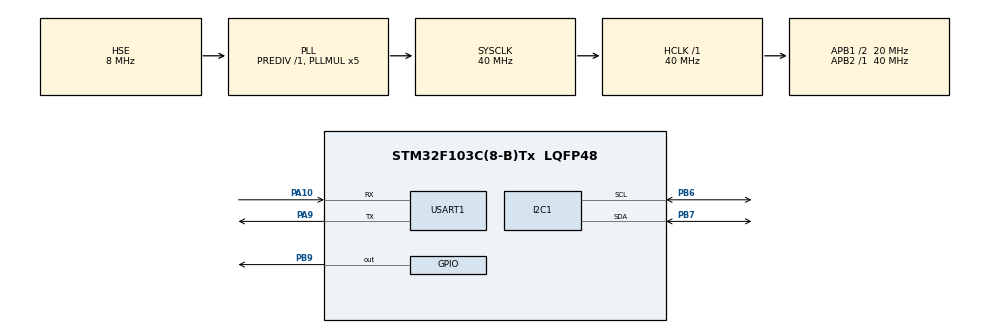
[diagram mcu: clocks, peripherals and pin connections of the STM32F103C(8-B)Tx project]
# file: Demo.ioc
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I2C1.I2C_Mode=I2C_Fast
Mcu.Family=STM32F1
Mcu.Name=STM32F103C(8-B)Tx
Mcu.Package=LQFP48
NVIC.PriorityGroup=NVIC_PRIORITYGROUP_4
NVIC.TIM3_IRQn=true\:1\:0\:true\:false\:true\:true\:true\:true
NVIC.USART1_IRQn=true\:1\:0\:true\:false\:true\:true\:true\:true
PA10.Mode=Asynchronous
PA10.Signal=USART1_RX
PA13.Mode=Serial_Wire
PA13.Signal=SYS_JTMS-SWDIO
PA14.Mode=Serial_Wire
PA14.Signal=SYS_JTCK-SWCLK
PA9.Mode=Asynchronous
PA9.Signal=USART1_TX
PB6.Mode=I2C
PB6.Signal=I2C1_SCL
PB7.Mode=I2C
PB7.Signal=I2C1_SDA
PB9.Signal=GPIO_Output
PD0-OSC_IN.Mode=HSE-External-Oscillator
PD0-OSC_IN.Signal=RCC_OSC_IN
PD1-OSC_OUT.Mode=HSE-External-Oscillator
PD1-OSC_OUT.Signal=RCC_OSC_OUT
ProjectManager.HeapSize=0x200
ProjectManager.StackSize=0x400
ProjectManager.TargetToolchain=STM32CubeIDE
RCC.AHBFreq_Value=40000000
RCC.APB1CLKDivider=RCC_HCLK_DIV2
RCC.APB1Freq_Value=20000000
RCC.APB1TimFreq_Value=40000000
RCC.APB2Freq_Value=40000000
RCC.APB2TimFreq_Value=40000000
RCC.HCLKFreq_Value=40000000
RCC.PLLMUL=RCC_PLL_MUL5
RCC.PLLSourceVirtual=RCC_PLLSOURCE_HSE
RCC.SYSCLKFreq_VALUE=40000000
RCC.SYSCLKSource=RCC_SYSCLKSOURCE_PLLCLK
RCC.USBFreq_Value=40000000
TIM2.Prescaler=39
TIM3.Period=5000-1
TIM3.Prescaler=4000-1
USART1.VirtualMode=VM_ASYNC
VP_TIM2_VS_ClockSourceINT.Mode=Internal
VP_TIM3_VS_ClockSourceINT.Mode=Internal
board=custom

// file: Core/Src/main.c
/* USER CODE BEGIN Header */
/**
  ******************************************************************************
  * @file           : main.c
  * @brief          : Main program body
  ******************************************************************************
  * @attention
  *
  * Copyright (c) 2024 STMicroelectronics.
  * All rights reserved.
  *
  * This software is licensed under terms that can be found in the LICENSE file
  * in the root directory of this software component.
  * If no LICENSE file comes with this software, it is provided AS-IS.
  *
  ******************************************************************************
  */
/* USER CODE END Header */
#include "main.h"

/* USER CODE BEGIN Includes */
#include <stdio.h>
#include <stdint.h>
#include <string.h>
#include <math.h>
/* USER CODE END Includes */

I2C_HandleTypeDef hi2c1;

TIM_HandleTypeDef htim2;
TIM_HandleTypeDef htim3;

UART_HandleTypeDef huart1;

void SystemClock_Config(void);
static void MX_GPIO_Init(void);
static void MX_USART1_UART_Init(void);
static void MX_I2C1_Init(void);
static void MX_TIM2_Init(void);
static void MX_TIM3_Init(void);

/* USER CODE BEGIN 0 */
/* ==========================LCD I2C ==========================*/
#define LCD_ADDR 0x4E
#define ADDRESS_FLASH_TEMPE 0x0800F000
#define ADDRESS_FLASH_HUMID 0x0800F004
#define ADDRESS_FLASH_FLAG  0x0800F008
/* ================= CREATE A DELAY 1us =================== */
void delay_1us(uint16_t time)
{
	__HAL_TIM_SET_COUNTER(&htim2,0);
	while((__HAL_TIM_GET_COUNTER(&htim2)) < time);
}
void LCD_Command(char cmd)
{
	char data_l, data_u;
	uint8_t data_t[4];
	data_u = (cmd&0xf0);
	data_l = ((cmd<<4)&0xf0);
	data_t[0] = data_u|0x0C;  //en=1, rs=0
	data_t[1] = data_u|0x08;  //en=0, rs=0
	data_t[2] = data_l|0x0C;  //en=1, rs=0
	data_t[3] = data_l|0x08;  //en=0, rs=0
	HAL_I2C_Master_Transmit (&hi2c1, LCD_ADDR,(uint8_t *) data_t, 4, 100);
}
void LCD_Data(char data)
{
	char data_l, data_u;
	uint8_t data_t[4];
	data_u = (data&0xf0);
	data_l = ((data<<4)&0xf0);
	data_t[0] = data_u|0x0D;  //en=1, rs=0
	data_t[1] = data_u|0x09;  //en=0, rs=0
	data_t[2] = data_l|0x0D;  //en=1, rs=0
	data_t[3] = data_l|0x09;  //en=0, rs=0
	HAL_I2C_Master_Transmit (&hi2c1, LCD_ADDR,(uint8_t *) data_t, 4, 100);
}
void LCD_Init(void)
{
	// 4 bit initialisation
	delay_1us(50000);  // wait for >40ms
	LCD_Command(0x30);
	delay_1us(5000);  // wait for >4.1ms
	LCD_Command (0x30);
	delay_1us(1000);  // wait for >100us
	LCD_Command (0x30);
	delay_1us(10000);
	LCD_Command (0x20);  // 4bit mode
	delay_1us(10000);

  // dislay initialisation
	LCD_Command (0x28); // Function set --> DL=0 (4 bit mode), N = 1 (2 line display) F = 0 (5x8 characters)
	delay_1us(1000);
	LCD_Command (0x08); //Display on/off control --> D=0,C=0, B=0  ---> display off
	delay_1us(1000);
	LCD_Command (0x01);  // clear display
	delay_1us(1000);
	delay_1us(1000);
	LCD_Command (0x06); //Entry mode set --> I/D = 1 (increment cursor) & S = 0 (no shift)
	delay_1us(1000);
	LCD_Command (0x0C); //Display on/off control --> D = 1, C and B = 0. (Cursor and blink, last two bits)

}
void LCD_GotoXY(uint8_t row, uint8_t col, char data)
{
	unsigned char cmd;
	cmd = (row==1?0x80:0xC0) + col - 1;
	LCD_Command(cmd);
	LCD_Data(data);

}
void LCD_String(char volatile *s)
{
	while(*s)
	{
		LCD_Data(*s);
		s++;
	}
}
void LCD_GotoXY_String(uint8_t row, uint8_t col, volatile char* data)
{
	unsigned char cmd;
	cmd = (row==1?0x80:0xC0) + col - 1;
	LCD_Command(cmd);
	LCD_String(data);

}
uint16_t p=0;
uint8_t humid_eeprom[2],tempe_eeprom[2];
uint8_t humidity_eeprom[2], temperature_eeprom[2];
volatile uint8_t Temperature_byte1, Temperature_byte2, Humidity_byte1, Humidity_byte2, checksum = 0;
volatile uint16_t sum, humidity,temperature = 0;
volatile uint16_t humidity_flash, temperature_flash = 0,flag_timer=0,flag_flash=0;
volatile uint8_t check;
uint8_t txbuffer[7];
char tempe[4];
char humid[4];
char tempe_flash[4];
char humid_flash[4];
volatile char tempe_display[]="Nhiet Do: ";
volatile char humid_display[]="Do Am: ";
/* =================== Declare EEPROM AT24C256 ================== */

// EEPROM ADDRESS (8bits)
#define EEPROM_ADDR 0xA0

// Define the Page Size and number of pages
#define PAGE_SIZE 64     // in Bytes
#define PAGE_NUM  512    // number of pages
uint16_t bytestowrite(uint16_t size, uint16_t offset)
{
	if((size+offset)<PAGE_SIZE) return size;
	else return PAGE_SIZE - offset;
}
void EEPROM_Write (uint16_t page, uint16_t offset, uint8_t *data, uint16_t size)
{

	// Find out the number of bit, where the page addressing starts
	int paddrposition = log(PAGE_SIZE)/log(2);

	// calculate the start page and the end page
	uint16_t startPage = page;
	uint16_t endPage = page + ((size+offset)/PAGE_SIZE);

	// number of pages to be written
	uint16_t numofpages = (endPage-startPage) + 1;
	uint16_t pos=0;

	// write the data
	for (int i=0; i<numofpages; i++)
	{
		/* calculate the address of the memory location
		 * Here we add the page address with the byte address
		 */
		uint16_t MemAddress = startPage<<paddrposition | offset;
		uint16_t bytesremaining = bytestowrite(size, offset);  // calculate the remaining bytes to be written

		HAL_I2C_Mem_Write(&hi2c1, EEPROM_ADDR, MemAddress, 2, &data[pos], bytesremaining, 1000);  // write the data to the EEPROM
		//HAL_I2C_Mem_Write(&hi2c1, DevAddress, MemAddress, MemAddSize, pData, Size, Timeout)

		startPage += 1;  // increment the page, so that a new page address can be selected for further write
		offset=0;   // since we will be writing to a new page, so offset will be 0
		size = size-bytesremaining;  // reduce the size of the bytes
		pos += bytesremaining;  // update the position for the data buffer

		delay_1us(5000);  // Write cycle delay (5ms)
	}
}
void Int2String1(uint16_t data, uint8_t *s)
{
	s[0]=data/10 +48;
	s[1]=data%10 +48;
}
void EEPROM_Read (uint16_t page, uint16_t offset, uint8_t *data, uint16_t size)
{
	int paddrposition = log(PAGE_SIZE)/log(2);

	uint16_t startPage = page;
	uint16_t endPage = page + ((size+offset)/PAGE_SIZE);

	uint16_t numofpages = (endPage-startPage) + 1;
	uint16_t pos=0;

	for (int i=0; i<numofpages; i++)
	{
		uint16_t MemAddress = startPage<<paddrposition | offset;
		uint16_t bytesremaining = bytestowrite(size, offset);
		HAL_I2C_Mem_Read(&hi2c1, EEPROM_ADDR, MemAddress, 2, &data[pos], bytesremaining, 1000);
		startPage += 1;
		offset=0;
		size = size-bytesremaining;
		pos += bytesremaining;
	}
}
void EEPROM_PageErase (uint16_t page)
{
	// calculate the memory address based on the page number
	int paddrposition = log(PAGE_SIZE)/log(2);
	uint16_t MemAddress = page<<paddrposition;

	// create a buffer to store the reset values
	uint8_t data[PAGE_SIZE];
	memset(data,0xff,PAGE_SIZE);

	// write the data to the EEPROM
	HAL_I2C_Mem_Write(&hi2c1, EEPROM_ADDR, MemAddress, 2, data, PAGE_SIZE, 1000);

	delay_1us(5000);  // write cycle delay
}
void Flash_Erase(uint32_t address)
{
	HAL_FLASH_Unlock();
	FLASH_EraseInitTypeDef EraseInitStruct;
	EraseInitStruct.Banks = 1;
	EraseInitStruct.NbPages = 1;
	EraseInitStruct.PageAddress = address;
	EraseInitStruct.TypeErase = FLASH_TYPEERASE_PAGES;
	uint32_t err;
	HAL_FLASHEx_Erase(&EraseInitStruct, &err);
	HAL_FLASH_Lock();
}
void Flash_WriteData(uint32_t address, int value)
{
	HAL_FLASH_Unlock();
	HAL_FLASH_Program(FLASH_TYPEPROGRAM_HALFWORD,address,value);
	HAL_FLASH_Lock();
}
int Flash_ReadData(uint32_t address)
{
	return *(__IO uint16_t *)(address);
}
void Int2String(uint16_t data, volatile char *s)
{
	s[0] = data/10 + 48;
	s[1] = data%10 + 48;
}
void Set_Pin_Output(GPIO_TypeDef *GPIOx,uint16_t GPIO_PIN)
{
	 /*Configure GPIO pin : OUTPUT */
	  GPIO_InitTypeDef GPIO_InitStruct = {0};
	  GPIO_InitStruct.Pin = GPIO_PIN;
	  GPIO_InitStruct.Mode = GPIO_MODE_OUTPUT_PP;
	  GPIO_InitStruct.Pull = GPIO_NOPULL;
	  GPIO_InitStruct.Speed = GPIO_SPEED_FREQ_LOW;
	  HAL_GPIO_Init(GPIOB, &GPIO_InitStruct);
}
void Set_Pin_Input(GPIO_TypeDef *GPIOx,uint16_t GPIO_PIN)
{
	 /*Configure GPIO pin : INPUT */
	  GPIO_InitTypeDef GPIO_InitStruct = {0};
	  GPIO_InitStruct.Pin = GPIO_PIN;
	  GPIO_InitStruct.Mode = GPIO_MODE_INPUT;
	  GPIO_InitStruct.Pull = GPIO_PULLUP;
	  GPIO_InitStruct.Speed = GPIO_SPEED_FREQ_LOW;
	  HAL_GPIO_Init(GPIOB, &GPIO_InitStruct);
}
/* ======================== DHT11 ========================== */
#define DHT11_PORT GPIOB
#define DHT11_PIN GPIO_PIN_9
void DHT11_Init(void)
{
	Set_Pin_Output(DHT11_PORT, DHT11_PIN);
	HAL_GPIO_WritePin(DHT11_PORT,DHT11_PIN,0);
	delay_1us(18000);
	HAL_GPIO_WritePin(DHT11_PORT,DHT11_PIN,1);
	delay_1us(20);
	Set_Pin_Input(DHT11_PORT, DHT11_PIN);
}
uint8_t DHT11_Check(void)
{
	uint8_t response = 0;
	delay_1us(40);
	if (!(HAL_GPIO_ReadPin(DHT11_PORT, DHT11_PIN)))
	{
		delay_1us(80);
		if ((HAL_GPIO_ReadPin(DHT11_PORT, DHT11_PIN))) response = 1;
		else response = -1;
	}
	while ((HAL_GPIO_ReadPin(DHT11_PORT, DHT11_PIN)));   // wait for the pin to go low

	return response;
}

uint8_t DHT11_Read(void)
{
	uint8_t i,j;
	for (j=0;j<8;j++)
	{
		while (!(HAL_GPIO_ReadPin (DHT11_PORT, DHT11_PIN)));   // wait for the pin to go high
		delay_1us(40);   // wait for 40 us
		if (!(HAL_GPIO_ReadPin (DHT11_PORT, DHT11_PIN)))   // if the pin is low
		{
			i&= ~(1<<(7-j));   // write 0
		}
		else i|= (1<<(7-j));  // if the pin is high, write 1
		while ((HAL_GPIO_ReadPin (DHT11_PORT, DHT11_PIN)));  // wait for the pin to go low
	}
	return i;
}
void HAL_TIM_PeriodElapsedCallback(TIM_HandleTypeDef *htim)
{
 if(htim->Instance == htim3.Instance)
 {
	  DHT11_Init();
	  check = DHT11_Check();
	  Humidity_byte1 = DHT11_Read();
	  Humidity_byte2 = DHT11_Read();
	  Temperature_byte1 = DHT11_Read();
	  Temperature_byte2 = DHT11_Read();
	  checksum = DHT11_Read();

	  humidity = Humidity_byte1;
	  temperature = Temperature_byte1;

	  Int2String(humidity, humid);
	  LCD_GotoXY_String(2, 7, humid);
	  Int2String(temperature, tempe);
	  LCD_GotoXY_String(1, 10, tempe);

	  Int2String1(humidity,tempe_eeprom);
	  Int2String1(temperature,humid_eeprom);
	  EEPROM_PageErase(10);
	  EEPROM_Write(10, 0, tempe_eeprom, 2);
	  EEPROM_Write(10, 10, humid_eeprom, 2);

	  /* Convert temperature and humidity data to transmit through UART */
	  txbuffer[0] = temperature/10+48;
	  txbuffer[1] = temperature%10+48;
	  txbuffer[2] = '/';
	  txbuffer[3] = humidity/10+48;
	  txbuffer[4] = humidity%10+48;
	  txbuffer[5] = '\r';
	  txbuffer[6] = '\n';

	  HAL_UART_Transmit(&huart1,txbuffer,sizeof(txbuffer),1000);
 }
}
uint8_t rxbuffer[1];
uint8_t txbuffer_eeprom[9];
void HAL_UART_RxCpltCallback(UART_HandleTypeDef *huart)
{
 if(huart->Instance == huart1.Instance)
 {
   if(rxbuffer[0] == '1')
   {
	   txbuffer_eeprom[0] = 49; // value = 1 is converted to ascii code
	   txbuffer_eeprom[1] = '/';
	   txbuffer_eeprom[2] = temperature_eeprom[0];
	   txbuffer_eeprom[3] = temperature_eeprom[1];
	   txbuffer_eeprom[4] = '/';
	   txbuffer_eeprom[5] = humidity_eeprom[0];
	   txbuffer_eeprom[6] = humidity_eeprom[1];
	   txbuffer_eeprom[7] = '\r';
	   txbuffer_eeprom[8] = '\n';
	   HAL_UART_Transmit(&huart1, txbuffer_eeprom, sizeof(txbuffer_eeprom),1000);
   }
   //HAL_UART_Receive_IT(&huart1, rxbuffer, sizeof(rxbuffer));
 }
}
/* USER CODE END 0 */

int main(void)
{

  /* MCU Configuration--------------------------------------------------------*/

  /* Reset of all peripherals, Initializes the Flash interface and the Systick. */
  HAL_Init();

  /* Configure the system clock */
  SystemClock_Config();

  /* Initialize all configured peripherals */
  MX_GPIO_Init();
  MX_USART1_UART_Init();
  MX_I2C1_Init();
  MX_TIM2_Init();
  MX_TIM3_Init();
  /* USER CODE BEGIN 2 */

  //HAL_UART_Transmit(&huart1,txbuffer,sizeof(txbuffer),1000);
  //temperature_flash = Flash_ReadData(ADDRESS_FLASH_TEMPE);
  //humidity_flash = Flash_ReadData(ADDRESS_FLASH_HUMID);
  EEPROM_Read(10, 0, temperature_eeprom,2);
  EEPROM_Read(10, 10, humidity_eeprom, 2);
  HAL_TIM_Base_Start(&htim2);
  HAL_TIM_Base_Start_IT(&htim3);
  HAL_UART_Receive_IT(&huart1, rxbuffer, sizeof(rxbuffer));
  LCD_Init();
  LCD_String(tempe_display);
  LCD_GotoXY_String(2,1,humid_display);
  LCD_GotoXY_String(1,13,"*C");
  LCD_GotoXY_String(2,10,"%");
  //EEPROM_Read(10, 0, temperature_eeprom,2);
  //EEPROM_Read(10, 10, humidity_eeprom, 2);
  // tickstart = HAL_GetTick();
  /* USER CODE END 2 */

  /* Infinite loop */
  while (1)
  {

  }
}

void SystemClock_Config(void)
{
  RCC_OscInitTypeDef RCC_OscInitStruct = {0};
  RCC_ClkInitTypeDef RCC_ClkInitStruct = {0};

  /** Initializes the RCC Oscillators according to the specified parameters
  * in the RCC_OscInitTypeDef structure.
  */
  RCC_OscInitStruct.OscillatorType = RCC_OSCILLATORTYPE_HSE;
  RCC_OscInitStruct.HSEState = RCC_HSE_ON;
  RCC_OscInitStruct.HSEPredivValue = RCC_HSE_PREDIV_DIV1;
  RCC_OscInitStruct.HSIState = RCC_HSI_ON;
  RCC_OscInitStruct.PLL.PLLState = RCC_PLL_ON;
  RCC_OscInitStruct.PLL.PLLSource = RCC_PLLSOURCE_HSE;
  RCC_OscInitStruct.PLL.PLLMUL = RCC_PLL_MUL5;
  if (HAL_RCC_OscConfig(&RCC_OscInitStruct) != HAL_OK)
  {
    Error_Handler();
  }

  /** Initializes the CPU, AHB and APB buses clocks
  */
  RCC_ClkInitStruct.ClockType = RCC_CLOCKTYPE_HCLK|RCC_CLOCKTYPE_SYSCLK
                              |RCC_CLOCKTYPE_PCLK1|RCC_CLOCKTYPE_PCLK2;
  RCC_ClkInitStruct.SYSCLKSource = RCC_SYSCLKSOURCE_PLLCLK;
  RCC_ClkInitStruct.AHBCLKDivider = RCC_SYSCLK_DIV1;
  RCC_ClkInitStruct.APB1CLKDivider = RCC_HCLK_DIV2;
  RCC_ClkInitStruct.APB2CLKDivider = RCC_HCLK_DIV1;

  if (HAL_RCC_ClockConfig(&RCC_ClkInitStruct, FLASH_LATENCY_1) != HAL_OK)
  {
    Error_Handler();
  }
}

static void MX_I2C1_Init(void)
{

  hi2c1.Instance = I2C1;
  hi2c1.Init.ClockSpeed = 400000;
  hi2c1.Init.DutyCycle = I2C_DUTYCYCLE_2;
  hi2c1.Init.OwnAddress1 = 0;
  hi2c1.Init.AddressingMode = I2C_ADDRESSINGMODE_7BIT;
  hi2c1.Init.DualAddressMode = I2C_DUALADDRESS_DISABLE;
  hi2c1.Init.OwnAddress2 = 0;
  hi2c1.Init.GeneralCallMode = I2C_GENERALCALL_DISABLE;
  hi2c1.Init.NoStretchMode = I2C_NOSTRETCH_DISABLE;
  if (HAL_I2C_Init(&hi2c1) != HAL_OK)
  {
    Error_Handler();
  }

}

static void MX_TIM2_Init(void)
{

  TIM_ClockConfigTypeDef sClockSourceConfig = {0};
  TIM_MasterConfigTypeDef sMasterConfig = {0};

  htim2.Instance = TIM2;
  htim2.Init.Prescaler = 39;
  htim2.Init.CounterMode = TIM_COUNTERMODE_UP;
  htim2.Init.Period = 65535;
  htim2.Init.ClockDivision = TIM_CLOCKDIVISION_DIV1;
  htim2.Init.AutoReloadPreload = TIM_AUTORELOAD_PRELOAD_DISABLE;
  if (HAL_TIM_Base_Init(&htim2) != HAL_OK)
  {
    Error_Handler();
  }
  sClockSourceConfig.ClockSource = TIM_CLOCKSOURCE_INTERNAL;
  if (HAL_TIM_ConfigClockSource(&htim2, &sClockSourceConfig) != HAL_OK)
  {
    Error_Handler();
  }
  sMasterConfig.MasterOutputTrigger = TIM_TRGO_RESET;
  sMasterConfig.MasterSlaveMode = TIM_MASTERSLAVEMODE_DISABLE;
  if (HAL_TIMEx_MasterConfigSynchronization(&htim2, &sMasterConfig) != HAL_OK)
  {
    Error_Handler();
  }

}

static void MX_TIM3_Init(void)
{

  TIM_ClockConfigTypeDef sClockSourceConfig = {0};
  TIM_MasterConfigTypeDef sMasterConfig = {0};

  htim3.Instance = TIM3;
  htim3.Init.Prescaler = 4000-1;
  htim3.Init.CounterMode = TIM_COUNTERMODE_UP;
  htim3.Init.Period = 5000-1;
  htim3.Init.ClockDivision = TIM_CLOCKDIVISION_DIV1;
  htim3.Init.AutoReloadPreload = TIM_AUTORELOAD_PRELOAD_DISABLE;
  if (HAL_TIM_Base_Init(&htim3) != HAL_OK)
  {
    Error_Handler();
  }
  sClockSourceConfig.ClockSource = TIM_CLOCKSOURCE_INTERNAL;
  if (HAL_TIM_ConfigClockSource(&htim3, &sClockSourceConfig) != HAL_OK)
  {
    Error_Handler();
  }
  sMasterConfig.MasterOutputTrigger = TIM_TRGO_RESET;
  sMasterConfig.MasterSlaveMode = TIM_MASTERSLAVEMODE_DISABLE;
  if (HAL_TIMEx_MasterConfigSynchronization(&htim3, &sMasterConfig) != HAL_OK)
  {
    Error_Handler();
  }

}

static void MX_USART1_UART_Init(void)
{

  huart1.Instance = USART1;
  huart1.Init.BaudRate = 115200;
  huart1.Init.WordLength = UART_WORDLENGTH_8B;
  huart1.Init.StopBits = UART_STOPBITS_1;
  huart1.Init.Parity = UART_PARITY_NONE;
  huart1.Init.Mode = UART_MODE_TX_RX;
  huart1.Init.HwFlowCtl = UART_HWCONTROL_NONE;
  huart1.Init.OverSampling = UART_OVERSAMPLING_16;
  if (HAL_UART_Init(&huart1) != HAL_OK)
  {
    Error_Handler();
  }

}

static void MX_GPIO_Init(void)
{
  GPIO_InitTypeDef GPIO_InitStruct = {0};

  /* GPIO Ports Clock Enable */
  __HAL_RCC_GPIOD_CLK_ENABLE();
  __HAL_RCC_GPIOA_CLK_ENABLE();
  __HAL_RCC_GPIOB_CLK_ENABLE();

  /*Configure GPIO pin Output Level */
  HAL_GPIO_WritePin(GPIOB, GPIO_PIN_9, GPIO_PIN_RESET);

  /*Configure GPIO pin : PB9 */
  GPIO_InitStruct.Pin = GPIO_PIN_9;
  GPIO_InitStruct.Mode = GPIO_MODE_OUTPUT_PP;
  GPIO_InitStruct.Pull = GPIO_NOPULL;
  GPIO_InitStruct.Speed = GPIO_SPEED_FREQ_LOW;
  HAL_GPIO_Init(GPIOB, &GPIO_InitStruct);

}

void Error_Handler(void)
{
  __disable_irq();
  while (1)
  {
  }
}
